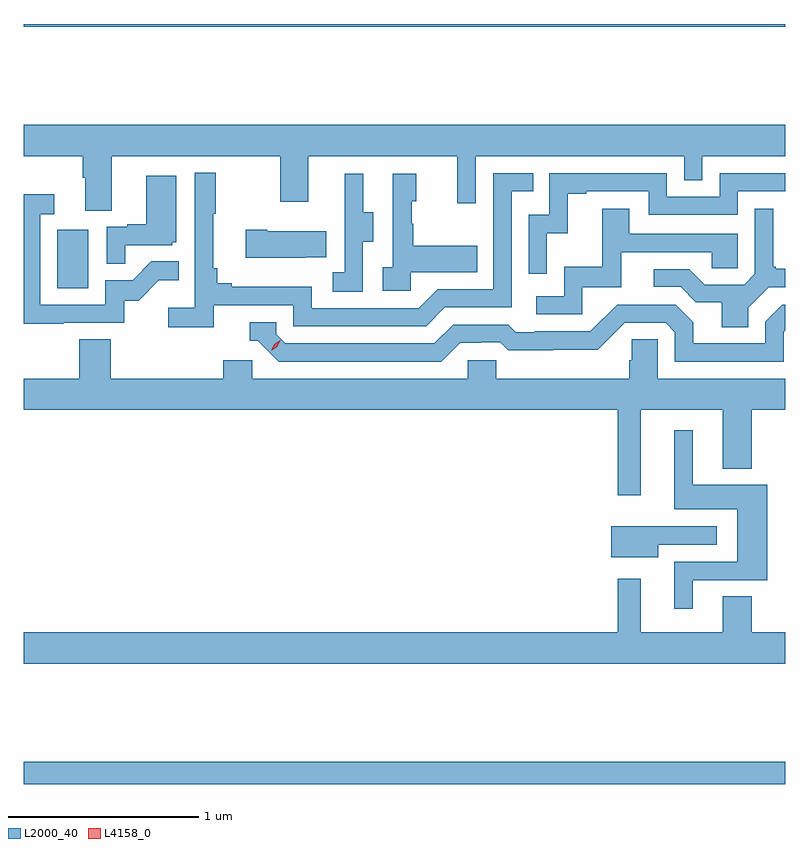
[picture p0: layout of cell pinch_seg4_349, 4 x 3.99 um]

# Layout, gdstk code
import gdstk
lib = gdstk.Library(unit=1e-6, precision=1e-09)
def R(c, l, rs):  # rectangles x0, y0, x1, y1
    for r in rs: c.add(gdstk.rectangle(r[:2], r[2:], *l))
def P(c, l, *ps):  # polygons
    for p in ps: c.add(gdstk.Polygon(p, *l))
L2000_40 = (2000, 40)
L4158_0 = (4158, 0)

pinch_seg4_349 = lib.new_cell('pinch_seg4_349')
R(pinch_seg4_349, L2000_40, [(994.98,794.856,998.98,794.972), (995.156,797.46,995.32,797.767), (994.98,798.832,998.98,798.846)])
P(pinch_seg4_349, L2000_40, [(995.443,798.152),(996.328,798.152),(996.328,797.913),(996.475,797.913),(996.475,798.152),(997.256,798.152),(997.256,797.904),(997.353,797.904),(997.353,798.152),(998.448,798.152),(998.448,798.025),(998.544,798.025),(998.544,798.152),(998.98,798.152),(998.98,798.316),(994.98,798.316),(994.98,798.152),(995.291,798.152),(995.291,798.04),(995.303,798.04),(995.303,797.866),(995.443,797.866)],
  [(995.978,797.37),(996.396,797.37),(996.396,797.259),(997.093,797.259),(997.192,797.358),(997.542,797.358),(997.542,797.967),(997.655,797.967),(997.655,798.063),(997.446,798.063),(997.446,797.454),(997.155,797.454),(997.056,797.355),(996.492,797.355),(996.492,797.467),(996.073,797.467),(996.073,797.486),(995.996,797.486),(995.996,797.563),(995.977,797.563),(995.977,797.851),(995.989,797.851),(995.989,798.064),(995.88,798.064),(995.88,797.356),(995.739,797.356),(995.739,797.254),(995.978,797.254)],
  [(997.728,797.747),(997.838,797.747),(997.838,797.955),(997.933,797.955),(997.933,797.967),(998.262,797.967),(998.262,797.844),(998.73,797.844),(998.73,797.967),(998.98,797.967),(998.98,798.063),(998.634,798.063),(998.634,797.94),(998.358,797.94),(998.358,798.063),(997.74,798.063),(997.74,797.844),(997.632,797.844),(997.632,797.535),(997.728,797.535)],
  [(997.014,797.543),(997.361,797.543),(997.361,797.683),(997.027,797.683),(997.027,797.798),(997.017,797.798),(997.017,797.916),(997.042,797.916),(997.042,798.061),(996.918,798.061),(996.918,797.57),(996.867,797.57),(996.867,797.445),(997.014,797.445)],
  [(996.762,797.704),(996.817,797.704),(996.817,797.859),(996.763,797.859),(996.763,798.061),(996.665,798.061),(996.665,797.847),(996.666,797.847),(996.666,797.543),(996.603,797.543),(996.603,797.44),(996.762,797.44)],
  [(995.513,797.685),(995.76,797.685),(995.76,797.7),(995.782,797.7),(995.782,798.049),(995.624,798.049),(995.624,797.794),(995.525,797.794),(995.525,797.781),(995.418,797.781),(995.418,797.587),(995.513,797.587)],
  [(995.189,797.277),(995.508,797.277),(995.508,797.394),(995.584,797.394),(995.691,797.501),(995.795,797.501),(995.795,797.6),(995.651,797.6),(995.553,797.502),(995.409,797.502),(995.409,797.373),(995.067,797.373),(995.067,797.847),(995.14,797.847),(995.14,797.953),(994.98,797.953),(994.98,797.272),(995.189,797.272)],
  [(997.914,797.463),(998.119,797.463),(998.119,797.649),(998.593,797.649),(998.593,797.565),(998.73,797.565),(998.73,797.745),(998.161,797.745),(998.161,797.875),(998.017,797.875),(998.017,797.572),(997.818,797.572),(997.818,797.418),(997.671,797.418),(997.671,797.322),(997.914,797.322)],
  [(998.785,797.356),(998.892,797.463),(998.98,797.463),(998.98,797.56),(998.929,797.56),(998.929,797.572),(998.917,797.572),(998.917,797.875),(998.82,797.875),(998.82,797.535),(998.763,797.478),(998.557,797.478),(998.476,797.559),(998.289,797.559),(998.289,797.466),(998.43,797.466),(998.51,797.386),(998.645,797.386),(998.645,797.254),(998.785,797.254)],
  [(996.461,797.621),(996.569,797.621),(996.569,797.758),(996.259,797.758),(996.259,797.766),(996.147,797.766),(996.147,797.618),(996.461,797.618)],
  [(997.273,797.172),(997.38,797.172),(997.38,797.175),(997.483,797.175),(997.525,797.133),(997.758,797.133),(997.758,797.135),(997.994,797.135),(998.136,797.277),(998.352,797.277),(998.4,797.229),(998.4,797.073),(998.97,797.073),(998.97,797.229),(998.98,797.239),(998.98,797.373),(998.964,797.373),(998.874,797.283),(998.874,797.169),(998.497,797.169),(998.497,797.279),(998.403,797.373),(998.097,797.373),(997.956,797.232),(997.663,797.232),(997.663,797.229),(997.564,797.229),(997.525,797.268),(997.236,797.268),(997.137,797.169),(996.354,797.169),(996.306,797.217),(996.306,797.28),(996.167,797.28),(996.167,797.184),(996.21,797.184),(996.321,797.073),(997.174,797.073)],
  [(998.221,796.82),(998.651,796.82),(998.651,796.511),(998.804,796.511),(998.804,796.82),(998.98,796.82),(998.98,796.984),(998.31,796.984),(998.31,797.192),(998.173,797.192),(998.173,797.082),(998.159,797.082),(998.159,796.984),(997.461,796.984),(997.461,797.082),(997.311,797.082),(997.311,796.984),(996.18,796.984),(996.18,797.082),(996.029,797.082),(996.029,796.984),(995.438,796.984),(995.438,797.192),(995.273,797.192),(995.273,796.984),(994.98,796.984),(994.98,796.82),(998.1,796.82),(998.1,796.371),(998.221,796.371)],
  [(998.494,795.927),(998.885,795.927),(998.885,796.426),(998.494,796.426),(998.494,796.714),(998.396,796.714),(998.396,796.298),(998.726,796.298),(998.726,796.023),(998.396,796.023),(998.396,795.777),(998.494,795.777)],
  [(998.311,796.113),(998.62,796.113),(998.62,796.209),(998.307,796.209),(998.307,796.21),(998.066,796.21),(998.066,796.046),(998.311,796.046)],
  [(998.98,795.652),(998.804,795.652),(998.804,795.842),(998.651,795.842),(998.651,795.652),(998.221,795.652),(998.221,795.934),(998.1,795.934),(998.1,795.652),(994.98,795.652),(994.98,795.488),(998.98,795.488)])
P(pinch_seg4_349, L4158_0, [(996.281,797.132),(996.281,797.132),(996.297,797.165),(996.328,797.185),(996.328,797.185),(996.328,797.185),(996.312,797.152),(996.282,797.132)])

lib.write_gds('pinch_seg4_349.gds')
